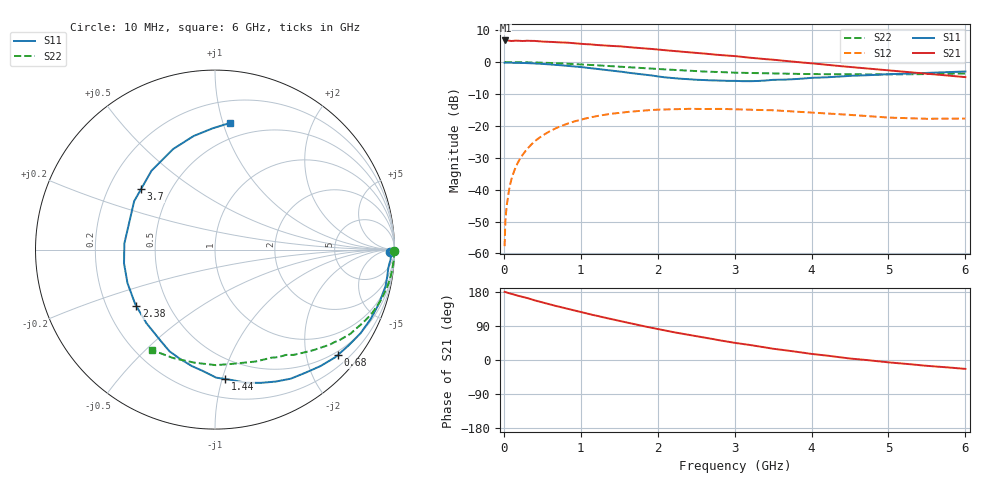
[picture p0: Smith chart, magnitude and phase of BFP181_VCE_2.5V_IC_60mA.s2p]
! Infineon Technologies  Discrete & RF Semiconductors
! BFP181
! VCE = 2.5 V,  IC =  60 mA
! Common Emitter S-Parameters:  Jan 2016
# GHz  S  MA  R  50
!  f  S11  S21  S12  S22
! GHz  MAG  ANG  MAG  ANG  MAG  ANG  MAG  ANG
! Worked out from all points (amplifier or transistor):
!   210 points, 10 MHz to 6 GHz, reference 50 ohm
!   highest |S21| = 6.7 dB at 20 MHz (marker M1)
!   |S21| within 3 dB of that: start of sweep to 2.067 GHz
!   unconditionally stable (mu >= 1): 3.574 GHz to end of sweep
!   at 185 MHz: K = 0.06, MSG = 19.0 dB, |S12| = -31.4 dB
!   at 1.52 GHz: K = 0.47, MSG = 10.4 dB, |S12| = -15.9 dB
!   at 6 GHz: K = 1.43, MAG = 2.6 dB, |S12| = -17.7 dB
!   S11 on the Smith chart (normalised r, x): 10 MHz: 61, -34; 680 MHz: 0.42, -2.64; 1.44 GHz: 0.34, -1.02; 2.38 GHz: 0.33, -0.29; 3.7 GHz: 0.34, +0.32; 6 GHz: 0.37, +1.05
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0.01  0.9751 -0.8  2.151 179.8  0.0013 88.9  1 -0.3
0.015  0.9773 -1.0  2.162 179.6  0.0022 86.1  0.9995 -0.4
0.02  0.9796 -1.1  2.174 179.5  0.0032 85.0  0.999 -0.6
0.04  0.9801 -2.4  2.173 178.0  0.0059 88.8  0.9982 -1.2
0.08  0.9747 -4.7  2.147 175.6  0.0117 86.2  0.9981 -2.3
0.13  0.9709 -7.9  2.147 172.8  0.019 83.6  0.9964 -3.7
0.19  0.9714 -11.5  2.152 169.4  0.0276 82.0  0.9943 -5.5
0.4  0.9497 -24.0  2.138 157.5  0.057 73.2  0.984 -11.5
0.68  0.9015 -40.7  2.039 142.5  0.0919 61.6  0.9566 -19.1
0.8  0.8757 -47.8  2.022 136.2  0.1051 57.1  0.943 -22.2
1.02  0.8283 -60.7  1.916 125.4  0.1264 48.9  0.9122 -27.5
1.44  0.7234 -85.4  1.776 105.9  0.1565 35.0  0.8517 -36.7
1.74  0.6516 -103.8  1.664 92.7  0.1701 26.7  0.8087 -42.2
2.02  0.5897 -121.2  1.558 81.1  0.1792 19.7  0.7753 -46.7
2.38  0.5395 -144.3  1.428 67.2  0.1843 11.1  0.7348 -52.9
2.8  0.5126 -171.4  1.288 52.1  0.1844 3.3  0.6978 -59.1
3.1  0.5007 170.7  1.201 42.5  0.1796 -1.7  0.6756 -63.8
3.7  0.5325 140.6  1.027 24.6  0.1696 -9.2  0.6543 -73.8
4.1  0.569 125.4  0.929 13.8  0.159 -13.1  0.6439 -81.4
4.5  0.6067 112.7  0.835 3.9  0.1483 -15.9  0.6438 -89.6
5.1  0.6486 98.8  0.721 -7.9  0.1333 -14.6  0.6399 -102.5
6  0.7097 83.4  0.579 -23.5  0.1298 -8.3  0.6607 -122.2
